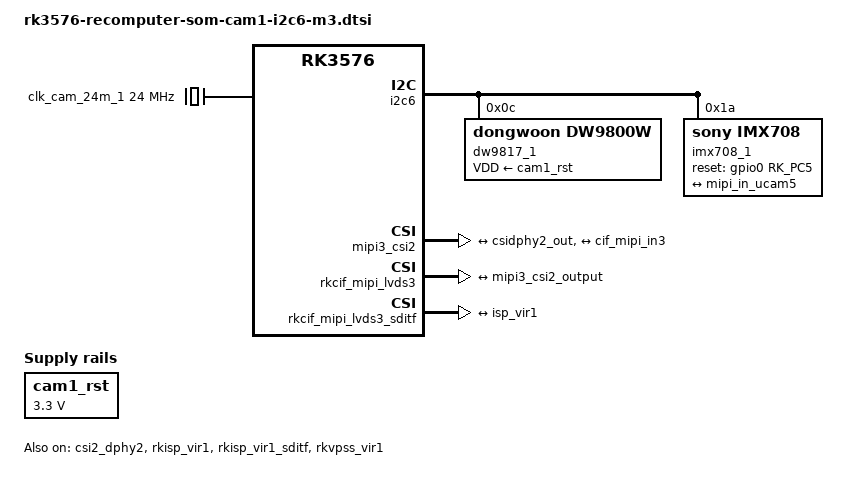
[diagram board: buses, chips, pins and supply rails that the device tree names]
// SPDX-License-Identifier: (GPL-2.0+ OR MIT)
/*
 * reComputer RK3576 Module IO Board, camera link 1:
 * CSI1 connector, sensors on I2C6 (M3), MIPI RX via csi2_dphy2
 * and mipi3_csi2 into rkcif_mipi_lvds3 / rkisp_vir1.
 *
 * Copyright (c) 2024 Luckfox Technology Co., Ltd.
 * Copyright (c) 2026 Seeed Studio
 */

/ {
    cam1_pwr: cam1-pwr {
        status = "disabled";
        compatible = "regulator-fixed";
        regulator-name = "cam1_pwr";
        regulator-min-microvolt = <3300000>;
        regulator-max-microvolt = <3300000>;
        enable-active-high;
        gpio = <&gpio1  RK_PD1  GPIO_ACTIVE_HIGH>;
        regulator-boot-on;
        regulator-always-on;
    };

	cam1_rst: cam1-rst {
		compatible = "regulator-fixed";
		regulator-name = "cam1_pwr";
		regulator-min-microvolt = <3300000>;
		regulator-max-microvolt = <3300000>;
		regulator-always-on;
	};

    clk_cam_24m_1: external-camera-clock-24m-1 {
        status = "okay";
        compatible = "fixed-clock";
        clock-frequency = <24000000>;
        clock-output-names = "clk_cam_24m_1";
        #clock-cells = <0>;
    };
};

// cam1: i2c6
&i2c6 {
	status = "okay";
	pinctrl-0 = <&i2c6m3_xfer>;

    imx219_1: imx219@10 {
        status = "disabled";
        compatible = "sony,imx219";
        reg = <0x10>;

        clocks = <&clk_cam_24m_1>;
        clock-names = "xvclk";
        vana-supply = <&cam1_pwr>;
       	rockchip,camera-module-index = <1>;
        rockchip,camera-module-facing = "back";
        rockchip,camera-module-name = "rpi-camera-v2";
        rockchip,camera-module-lens-name = "default";

        port {
            imx219_out1: endpoint {
                remote-endpoint = <&mipi_in_ucam3>;
                data-lanes = <1 2>;
            };
        };
    };

 /**************raspberry pi cam v3**************/
	dw9817_1: dw9817@c {
		compatible = "dongwoon,dw9800w";
		status = "okay";
		reg = <0x0c>;
		VDD-supply = <&cam1_rst>;
		/* power-supply = <&cam1_pwr>; */
		rockchip,camera-module-index = <1>;
		rockchip,vcm-start-current = <10>;
		rockchip,vcm-rated-current = <85>;
		rockchip,vcm-step-mode = <5>;
		rockchip,camera-module-facing = "back";

	};

	imx708_1: imx708@1a {
		status = "okay";
		compatible = "sony,imx708";
		reg = <0x1a>;
		clocks = <&clk_cam_24m_1>;
		clock-names = "xclk";
		reset-gpios = <&gpio0 RK_PC5 GPIO_ACTIVE_HIGH>;
		/* vana1-supply = <&cam1_pwr>; */
		pinctrl-names = "default";
		rockchip,camera-module-index = <1>;
		rockchip,camera-module-facing = "front";
		rockchip,camera-module-name = "rpi-camera-v3";
		rockchip,camera-module-lens-name = "default";
		lens-focus = <&dw9817_1>;
		port {
			imx708_out1: endpoint {
				remote-endpoint = <&mipi_in_ucam5>;
				data-lanes = <1 2>;
				link-frequencies = /bits/ 64 <450000000>;

			};
		};
	};
};

&csi2_dphy2 {
	status = "okay";

	ports {
		#address-cells = <1>;
		#size-cells = <0>;
		port@0 {
			reg = <0>;
			#address-cells = <1>;
			#size-cells = <0>;

			mipi_in_ucam3: endpoint@2 {
				reg = <2>;
				remote-endpoint = <&imx219_out1>;
				data-lanes = <1 2>;
			};
			mipi_in_ucam5: endpoint@3 {
				reg = <3>;
				remote-endpoint = <&imx708_out1>;
				data-lanes = <1 2>;
			};
		};
		port@1 {
			reg = <1>;
			#address-cells = <1>;
			#size-cells = <0>;

			csidphy2_out: endpoint@0 {
				reg = <0>;
				remote-endpoint = <&mipi3_csi2_input>;
			};
		};
	};
};

&mipi3_csi2 {
	status = "okay";

	ports {
		#address-cells = <1>;
		#size-cells = <0>;

		port@0 {
			reg = <0>;
			#address-cells = <1>;
			#size-cells = <0>;

			mipi3_csi2_input: endpoint@1 {
				reg = <1>;
				remote-endpoint = <&csidphy2_out>;
			};
		};

		port@1 {
			reg = <1>;
			#address-cells = <1>;
			#size-cells = <0>;

			mipi3_csi2_output: endpoint@0 {
				reg = <0>;
				remote-endpoint = <&cif_mipi_in3>;
			};
		};
	};
};

&rkcif_mipi_lvds3 {
	status = "okay";

	port {
		cif_mipi_in3: endpoint {
			remote-endpoint = <&mipi3_csi2_output>;
		};
	};
};

&rkcif_mipi_lvds3_sditf {
	status = "okay";

	port {
		mipi_lvds3_sditf: endpoint {
			remote-endpoint = <&isp_vir1>;
		};
	};
};

&rkisp_vir1 {
	status = "okay";

	port {
		#address-cells = <1>;
		#size-cells = <0>;

		isp_vir1: endpoint@0 {
			reg = <0>;
			remote-endpoint = <&mipi_lvds3_sditf>;
		};
	};
};

&rkisp_vir1_sditf {
    status = "okay";
};

&rkvpss_vir1 {
    status = "okay";
};
